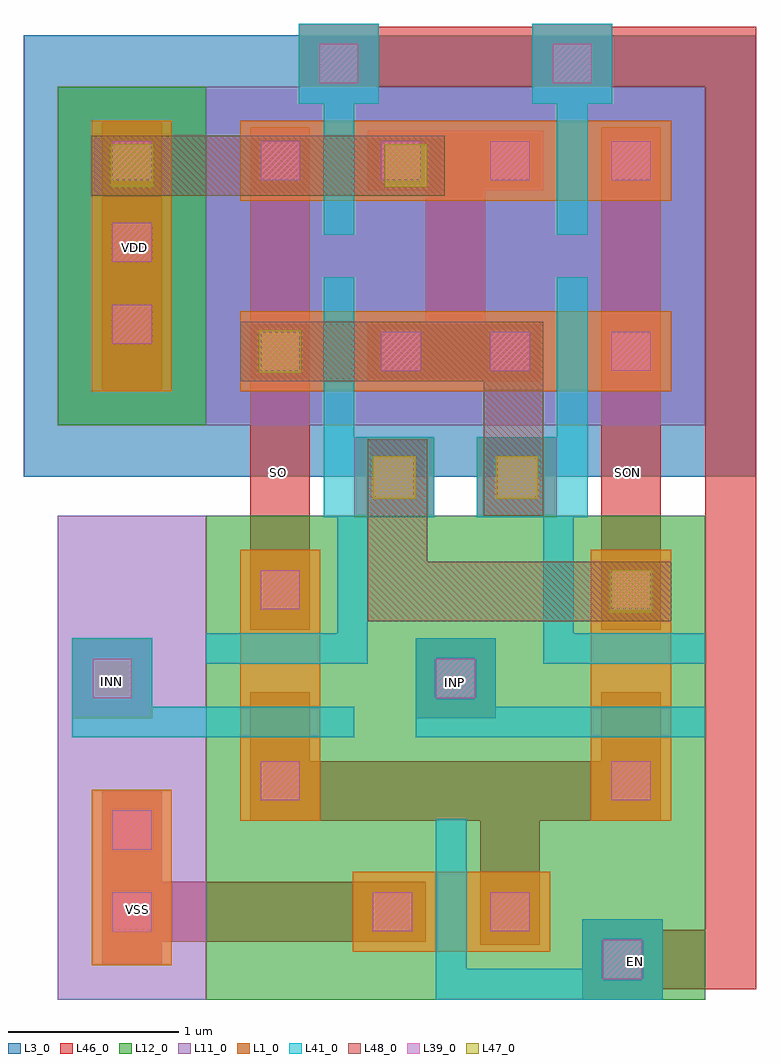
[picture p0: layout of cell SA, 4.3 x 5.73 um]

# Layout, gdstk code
import gdstk
lib = gdstk.Library(unit=1e-6, precision=1e-09)
def R(c, l, rs):  # rectangles x0, y0, x1, y1
    for r in rs: c.add(gdstk.rectangle(r[:2], r[2:], *l))
def A(c, l, x, y, w, h, nx, ny, dx, dy):  # array of equal rectangles
    R(c, l, [(x+i*dx, y+j*dy, x+i*dx+w, y+j*dy+h) for i in range(nx) for j in range(ny)])
L1_0 = (1, 0)
L3_0 = (3, 0)
L11_0 = (11, 0)
L12_0 = (12, 0)
L39_0 = (39, 0)
L41_0 = (41, 0)
L46_0 = (46, 0)
L47_0 = (47, 0)
L48_0 = (48, 0)

c_sa = lib.new_cell('SA')
R(c_sa, L1_0, [(0.91,-0.455,1.38,0.575), (2.44,-0.375,3.6,0.095), (1.78,0.395,2.25,1.985), (3.84,0.395,4.31,1.985), (0.91,2.915,1.38,4.505), (1.78,2.915,4.31,3.385), (1.78,4.035,4.31,4.505)])
R(c_sa, L3_0, [(0.51,2.415,4.81,5.005)])
R(c_sa, L11_0, [(0.71,-0.655,1.58,2.185), (1.58,2.715,4.51,4.705)])
R(c_sa, L12_0, [(1.58,-0.655,4.51,2.185), (0.71,2.715,1.58,4.705)])
A(c_sa, L39_0, 1.03, 3.195, 0.23, 0.23, 1, 3, 0, 0.48)
R(c_sa, L39_0, [(3.91,-0.535,4.14,-0.305), (1.03,-0.255,1.26,-0.025), (1.03,-0.255,1.26,-0.025), (2.56,-0.255,2.79,-0.025), (3.25,-0.255,3.48,-0.025), (1.03,0.225,1.26,0.455), (1.03,0.225,1.26,0.455), (1.9,0.515,2.13,0.745), (3.96,0.515,4.19,0.745), (0.915,1.115,1.145,1.345), (2.93,1.115,3.16,1.345), (1.9,1.635,2.13,1.865), (3.96,1.635,4.19,1.865), (2.57,2.295,2.8,2.525), (3.29,2.295,3.52,2.525), (1.9,3.035,2.13,3.265), (2.61,3.035,2.84,3.265), (3.25,3.035,3.48,3.265), (3.96,3.035,4.19,3.265), (1.03,4.155,1.26,4.385), (1.9,4.155,2.13,4.385), (2.61,4.155,2.84,4.385), (3.25,4.155,3.48,4.385), (3.96,4.155,4.19,4.385), (2.245,4.725,2.475,4.955), (3.615,4.725,3.845,4.955)])
R(c_sa, L41_0, [(2.93,-0.655,3.11,0.405), (3.11,-0.655,3.79,-0.475), (3.79,-0.655,4.26,-0.185), (0.795,0.885,2.45,1.065), (2.81,0.885,4.51,1.065), (0.795,0.995,1.265,1.465), (2.81,0.995,3.28,1.465), (1.58,1.315,2.45,1.495), (2.35,1.315,2.53,2.175), (3.56,1.315,3.74,2.175), (3.64,1.315,4.51,1.495), (2.27,2.175,2.45,3.585), (2.45,2.175,2.92,2.645), (3.17,2.175,3.64,2.645), (3.64,2.175,3.82,3.585), (2.27,3.835,2.45,4.605), (3.64,3.835,3.82,4.605), (2.125,4.605,2.595,5.075), (3.495,4.605,3.965,5.075)])
R(c_sa, L46_0, [(3.79,-0.655,4.26,-0.185), (3.91,-0.595,4.81,-0.245), (4.51,-0.595,4.81,5.055), (0.97,-0.455,1.32,0.575), (3.19,-0.335,3.54,0.745), (0.97,-0.315,2.87,0.035), (1.84,0.395,4.25,0.745), (1.84,0.435,2.19,1.15), (3.9,0.435,4.25,1.15), (0.795,0.995,1.265,1.465), (2.81,0.995,3.28,1.465), (1.84,1.515,2.19,4.465), (3.9,1.515,4.25,4.465), (2.45,2.175,2.92,2.645), (3.17,2.175,3.64,2.645), (0.97,2.915,1.32,4.505), (2.53,2.975,3.56,3.325), (2.87,2.975,3.22,4.445), (2.53,4.095,3.56,4.445), (2.125,4.705,4.81,5.055), (2.125,4.725,2.595,5.075), (3.495,4.725,3.965,5.075)])
R(c_sa, L47_0, [(3.95,1.615,4.2,1.865), (2.56,2.285,2.81,2.535), (3.28,2.285,3.53,2.535), (1.89,3.025,2.14,3.275), (1.02,4.115,1.27,4.365), (2.63,4.115,2.88,4.365)])
R(c_sa, L48_0, [(2.53,1.565,4.31,1.915), (2.53,1.565,2.88,2.635), (3.21,2.185,3.56,3.325), (1.78,2.975,3.56,3.325), (0.91,4.065,2.98,4.415)])
c_sa.add(gdstk.Label('INP', (3.04,1.205), layer=101, texttype=0))
c_sa.add(gdstk.Label('INN', (1.025,1.21), layer=101, texttype=0))
c_sa.add(gdstk.Label('VDD', (1.16,3.76), layer=101, texttype=0))
c_sa.add(gdstk.Label('SON', (4.055,2.44), layer=101, texttype=0))
c_sa.add(gdstk.Label('SO', (2.005,2.44), layer=101, texttype=0))
c_sa.add(gdstk.Label('VSS', (1.175,-0.124), layer=101, texttype=0))
c_sa.add(gdstk.Label('EN', (4.103,-0.429), layer=101, texttype=0))

lib.write_gds('SA.gds')
